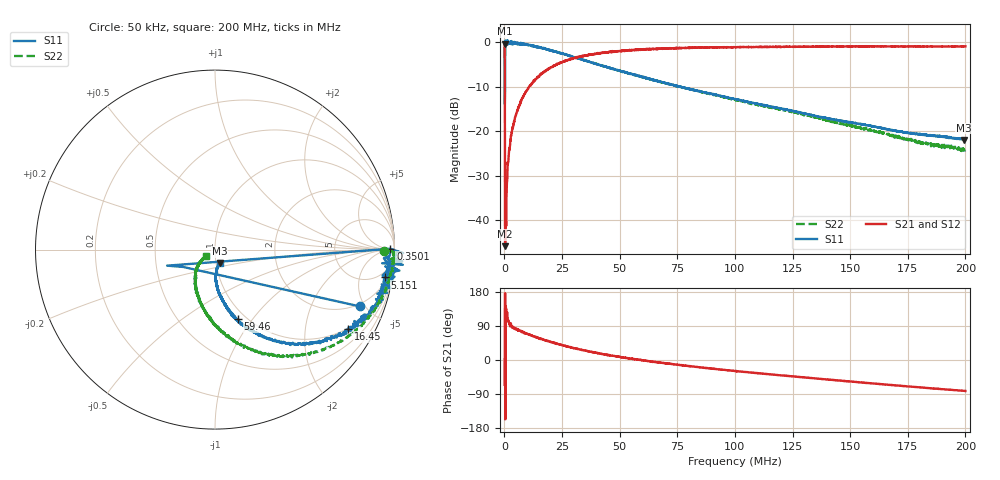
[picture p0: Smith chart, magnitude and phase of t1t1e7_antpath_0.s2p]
! 27-Aug-26 2:18:40 PM
! E:\20260827_VNA\T1T1E7_ANTPATH_0.S2P
! CHANNEL.1
! TR.MEASUREMENT
! CORRECTED.DATA
# GHZ S RI R 50.0
! FREQ.GHZ  S11RE  S11IM  S21RE  S21IM  S12RE  S12IM  S22RE  S22IM
!; PortSelection: Port_12
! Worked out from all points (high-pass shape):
!   2000 points, 50 kHz to 200 MHz, reference 50 ohm
!   highest |S21| = -0.29 dB at 50 kHz (marker M1); lowest = -45.8 dB at 250 kHz (marker M2)
!   |S21| within 3 dB of the highest: 32.04 MHz to 32.33 MHz (288.7 kHz wide, 0.897 % of centre); 32.5 MHz to end of sweep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
!   lowest |S11| = -22.0 dB at 199.4 MHz (marker M3), VSWR 1.17, Z = 52.1 - j7.9 ohm
!   |S11| at or under -10 dB: 119.2 kHz to 259.4 kHz (140.3 kHz wide, 74.1 % of centre); 76.35 MHz to 76.75 MHz (403.9 kHz wide, 0.528 % of centre); 76.79 MHz to end of sweep
!   |S22| runs from -24.4 to 0.1 dB; largest |S21 - S12| = 0.96
!   S11 on the Smith chart (normalised r, x): 50 kHz: 1.82, -4.59; 350.1 kHz: 83, +18; 5.151 MHz: 3, -12; 16.45 MHz: 0.97, -3.37; 59.46 MHz: 0.91, -0.85; 200 MHz: 1.04, -0.16
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5e-05  0.8057 -0.3162  0.4007 -0.8806  0.0114 -0.00124  0.944 -0.00852
0.00025005  -0.2667 -0.0895  -0.00509 0.000322  2.4e-05 0.00243  1.01 -0.0119
0.000350075  0.9771 0.00484  -0.00562 -0.00242  -0.00211 0.00861  0.9972 -0.0216
0.001150275  1.044 -0.0654  -0.0163 0.0225  -0.00343 0.0318  0.9799 -0.0525
0.0012503  0.9312 -0.0759  -0.0113 0.0283  -0.00281 0.035  0.9955 -0.0571
0.001350325  1.046 -0.0849  -0.0166 0.0418  -0.000722 0.039  0.9913 -0.0674
0.00185045  0.9627 -0.0553  -0.011 0.0515  -0.00224 0.054  0.9891 -0.0758
0.002350575  0.968 -0.1145  -0.00779 0.07  -0.000437 0.0693  0.9849 -0.1032
0.003550875  0.9337 -0.144  0.0085 0.1064  0.00806 0.1056  0.9722 -0.1521
0.005151276  0.9482 -0.1554  0.0206 0.1564  0.022 0.1545  0.9517 -0.2118
0.009852451  0.8884 -0.3271  0.1055 0.2746  0.1064 0.2742  0.8617 -0.3724
0.0164541  0.7414 -0.4427  0.255 0.368  0.2616 0.3729  0.685 -0.5185
0.02435608  0.5456 -0.5162  0.448 0.381  0.455 0.3848  0.4751 -0.5901
0.03345835  0.3766 -0.5159  0.6237 0.3085  0.6205 0.3135  0.2723 -0.5803
0.04576143  0.2286 -0.4684  0.7638 0.1754  0.7556 0.1734  0.0967 -0.5084
0.05946486  0.1282 -0.3886  0.8263 -0.000215  0.8276 -0.00191  -0.0123 -0.4101
0.06676668  0.0921 -0.356  0.8448 -0.0854  0.8449 -0.0879  -0.0473 -0.3599
0.100075  0.0174 -0.2303  0.773 -0.4325  0.7699 -0.431  -0.1116 -0.2001
0.1333833  0.00325 -0.1514  0.6027 -0.6609  0.6068 -0.6627  -0.1042 -0.1051
0.1666917  0.0109 -0.104  0.37 -0.8196  0.3728 -0.8204  -0.075 -0.0561
0.1993998  0.0261 -0.0754  0.1312 -0.8915  0.1411 -0.8901  -0.0469 -0.0386
0.2  0.0276 -0.0767  0.1295 -0.8915  0.131 -0.8869  -0.0488 -0.0373
